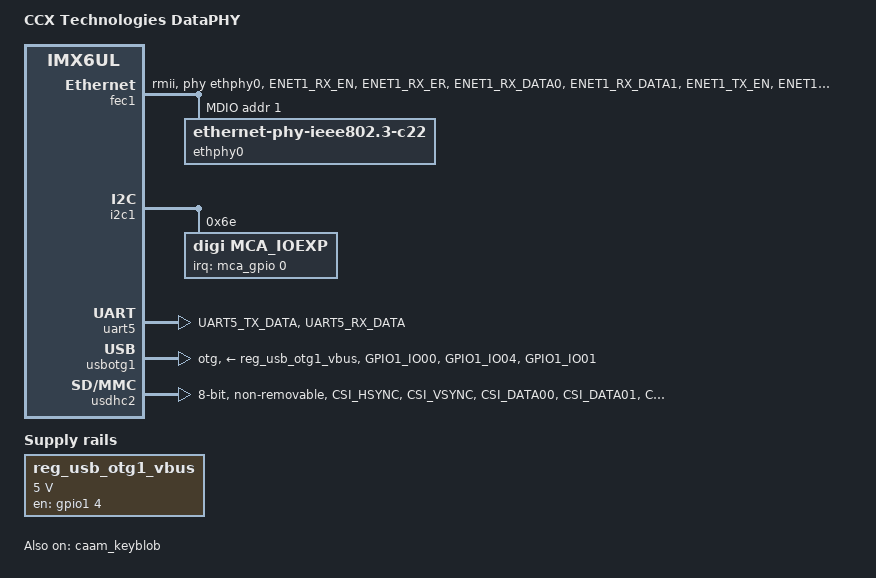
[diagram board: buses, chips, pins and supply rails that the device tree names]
/*
 * Copyright 2016 Digi International, Inc.
 *
 * The code contained herein is licensed under the GNU General Public
 * License. You may obtain a copy of the GNU General Public License
 * Version 2 or later at the following locations:
 *
 * http://www.opensource.org/licenses/gpl-license.html
 * http://www.gnu.org/copyleft/gpl.html
 */

/dts-v1/;
#include <dt-bindings/input/input.h>
#include <dt-bindings/interrupt-controller/irq.h>
/* i.MX6 UltraLite CPU */
#include "imx6ul.dtsi"
/* ConnectCore 6UL */
#include "imx6ul-ccimx6ul.dtsi"

/ {
	model = "CCX Technologies DataPHY";
	compatible = "digi,ccimx6ulsbc", "digi,ccimx6ul", "fsl,imx6ul";
	digi,machine,name = "dataphy";

	pxp_v4l2: pxp-v4l2 {
		compatible = "fsl,imx6ul-pxp-v4l2", "fsl,imx6sx-pxp-v4l2", "fsl,imx6sl-pxp-v4l2";
		status = "disabled";
	};

	reg_usb_otg1_vbus: reg_usb_otg1@0 {
		compatible = "regulator-fixed";
		regulator-name = "usb_otg1_vbus";
		regulator-min-microvolt = <5000000>;
		regulator-max-microvolt = <5000000>;
		gpio = <&gpio1 4 GPIO_ACTIVE_HIGH>;
		enable-active-high;
	};

};

&fec1 {
	pinctrl-names = "default";
	pinctrl-0 = <&pinctrl_enet1 &pinctrl_enet1_mdio>;
	phy-mode = "rmii";
	phy-handle = <&ethphy0>;
	phy-reset-gpios = <&gpio5 1 GPIO_ACTIVE_LOW>;
	phy-reset-duration = <26>;
	digi,phy-reset-in-suspend;
	status = "okay";

	mdio {
		#address-cells = <1>;
		#size-cells = <0>;

		ethphy0: ethernet-phy@0 {
			compatible = "ethernet-phy-ieee802.3-c22";
			smsc,disable-energy-detect;
			reg = <1>;
		};

	};
};

&i2c1 {
	mca_ioexp: mca_io@6e {
		compatible = "digi,mca_ioexp";
		reg = <0x6e>;
		interrupt-parent = <&mca_gpio>;
		interrupts = <0 IRQ_TYPE_EDGE_FALLING>;
		status = "okay";

		interrupt-controller;
		#interrupt-cells = <2>;
		pinctrl-names = "default";

		mca_ioexp_gpio: gpio {
			compatible = "digi,mca-ioexp-gpio";
			gpio-controller;
			#gpio-cells = <2>;

			interrupt-parent = <&mca_ioexp>;
			interrupt-controller;
			#interrupt-cells = <2>;
		};

		mca_ioexp_adc: adc {
			compatible = "digi,mca-ioexp-adc";
			digi,adc-vref = <3300000>;
		};
	};
};

&uart5 {
	pinctrl-names = "default";
	pinctrl-0 = <&pinctrl_uart5>;
	status = "okay";
};

&usbotg1 {
	dr_mode = "otg";
	vbus-supply = <&reg_usb_otg1_vbus>;
	pinctrl-0 = <&pinctrl_usbotg1>;
	digi,power-line-active-high;
	status = "okay";
};

&iomuxc {
	pinctrl-names = "default";
	pinctrl-0 = <&pinctrl_hog>;

	imx6ul-ccimx6ul {
		pinctrl_enet1: enet1grp {
			fsl,pins = <
				MX6UL_PAD_ENET1_RX_EN__ENET1_RX_EN	0x1b0b0
				MX6UL_PAD_ENET1_RX_ER__ENET1_RX_ER	0x1b0b0
				MX6UL_PAD_ENET1_RX_DATA0__ENET1_RDATA00	0x1b0b0
				MX6UL_PAD_ENET1_RX_DATA1__ENET1_RDATA01	0x1b0b0
				MX6UL_PAD_ENET1_TX_EN__ENET1_TX_EN	0x1b0b0
				MX6UL_PAD_ENET1_TX_DATA0__ENET1_TDATA00	0x1b0b0
				MX6UL_PAD_ENET1_TX_DATA1__ENET1_TDATA01	0x1b0b0
				MX6UL_PAD_ENET1_TX_CLK__ENET1_REF_CLK1	0x40017051
			>;
		};

		pinctrl_enet1_mdio: mdioenet1grp {
			fsl,pins = <
				MX6UL_PAD_GPIO1_IO07__ENET1_MDC		0x1b0b0
				MX6UL_PAD_GPIO1_IO06__ENET1_MDIO	0x1b0b0
			>;
		};

		pinctrl_uart5: uart5grp {
			fsl,pins = <
				MX6UL_PAD_UART5_TX_DATA__UART5_DCE_TX	0x1b0b1
				MX6UL_PAD_UART5_RX_DATA__UART5_DCE_RX	0x1b0b1
			>;
		};

		pinctrl_usdhc2_8databits: usdhc2-8databits-grp {
			fsl,pins = <
				MX6UL_PAD_CSI_HSYNC__USDHC2_CMD		0x17059
				MX6UL_PAD_CSI_VSYNC__USDHC2_CLK		0x10039
				MX6UL_PAD_CSI_DATA00__USDHC2_DATA0	0x17059
				MX6UL_PAD_CSI_DATA01__USDHC2_DATA1	0x17059
				MX6UL_PAD_CSI_DATA02__USDHC2_DATA2	0x17059
				MX6UL_PAD_CSI_DATA03__USDHC2_DATA3	0x17059
				MX6UL_PAD_CSI_DATA04__USDHC2_DATA4	0x17059
				MX6UL_PAD_CSI_DATA05__USDHC2_DATA5	0x17059
				MX6UL_PAD_CSI_DATA06__USDHC2_DATA6	0x17059
				MX6UL_PAD_CSI_DATA07__USDHC2_DATA7	0x17059
			>;
		};

		pinctrl_usbotg1: usbotg1grp {
			fsl,pins = <
				MX6UL_PAD_GPIO1_IO00__ANATOP_OTG1_ID	0x17059
				MX6UL_PAD_GPIO1_IO04__GPIO1_IO04	0x17059 /* USBOTG1 PWR */
				MX6UL_PAD_GPIO1_IO01__USB_OTG1_OC	0x17059
			>;
		};

		/* General purpose pinctrl */
		pinctrl_hog: hoggrp {
		};
	};
};

&caam_keyblob {
	status = "okay";
};

&usdhc2 {
	non-removable;
	no-1-8-v;
	voltage-ranges = <3200 3400>;
	pinctrl-0 = <&pinctrl_usdhc2_8databits>;
	bus-width = <8>;
	status = "okay";
};
